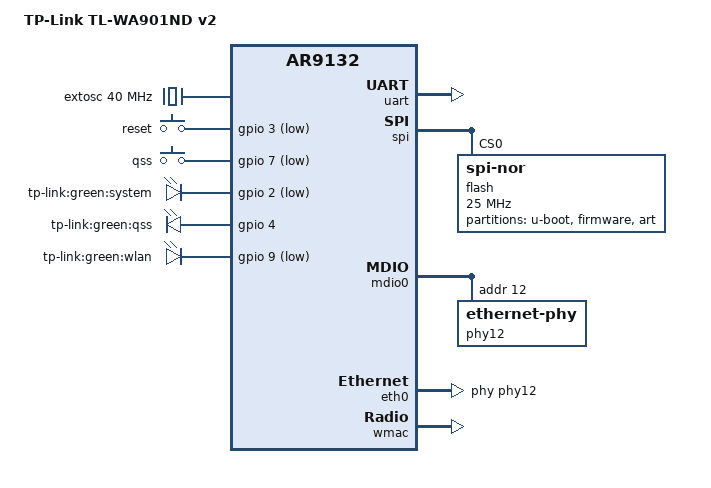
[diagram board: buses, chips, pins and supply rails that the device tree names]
// SPDX-License-Identifier: GPL-2.0
/dts-v1/;

#include <dt-bindings/gpio/gpio.h>
#include <dt-bindings/input/input.h>

#include "ar9132.dtsi"

/ {
	compatible = "tplink,tl-wa901nd-v2", "qca,ar9132";
	model = "TP-Link TL-WA901ND v2";

	aliases {
		led-boot = &led_system;
		led-failsafe = &led_system;
		led-running = &led_system;
		led-upgrade = &led_system;
		label-mac-device = &eth0;
	};

	extosc: ref {
		compatible = "fixed-clock";
		#clock-cells = <0>;
		clock-frequency = <40000000>;
	};

	keys {
		compatible = "gpio-keys";

		reset {
			label = "reset";
			linux,code = <KEY_RESTART>;
			gpios = <&gpio 3 GPIO_ACTIVE_LOW>;
			debounce-interval = <60>;
		};

		qss {
			label = "qss";
			linux,code = <KEY_WPS_BUTTON>;
			gpios = <&gpio 7 GPIO_ACTIVE_LOW>;
			debounce-interval = <60>;
		};
	};

	leds {
		compatible = "gpio-leds";

		led_system: system {
			label = "tp-link:green:system";
			gpios = <&gpio 2 GPIO_ACTIVE_LOW>;
		};

		qss {
			label = "tp-link:green:qss";
			gpios = <&gpio 4 GPIO_ACTIVE_HIGH>;
		};

		wlan {
			label = "tp-link:green:wlan";
			gpios = <&gpio 9 GPIO_ACTIVE_LOW>;
			linux,default-trigger = "phy0tpt";
		};
	};
};

&uart {
	status = "okay";
};

&pll {
	clocks = <&extosc>;
};

&spi {
	status = "okay";

	num-cs = <1>;

	flash@0 {
		compatible = "jedec,spi-nor";
		reg = <0>;
		spi-max-frequency = <25000000>;

		partitions {
			compatible = "fixed-partitions";
			#address-cells = <1>;
			#size-cells = <1>;

			uboot: partition@0 {
				label = "u-boot";
				reg = <0x000000 0x020000>;
				read-only;
			};

			partition@1 {
				compatible = "tplink,firmware";
				label = "firmware";
				reg = <0x020000 0x3D0000>;
			};

			art: partition@2 {
				label = "art";
				reg = <0x3F0000 0x010000>;
				read-only;
			};
		};
	};
};

&mdio0 {
	status = "okay";

	phy12: ethernet-phy@c {
		reg = <0xc>;
		phy-mode = "mii";

		resets = <&rst 8>;
		reset-names = "phy";

		reset-assert-us = <10000>;
		reset-deassert-us = <10000>;
	};
};

&eth0 {
	status = "okay";

	mtd-mac-address = <&uboot 0x1fc00>;

	phy-handle = <&phy12>;
};

&wmac {
	status = "okay";

	mtd-cal-data = <&art 0x1000>;
	mtd-mac-address = <&uboot 0x1fc00>;
};
